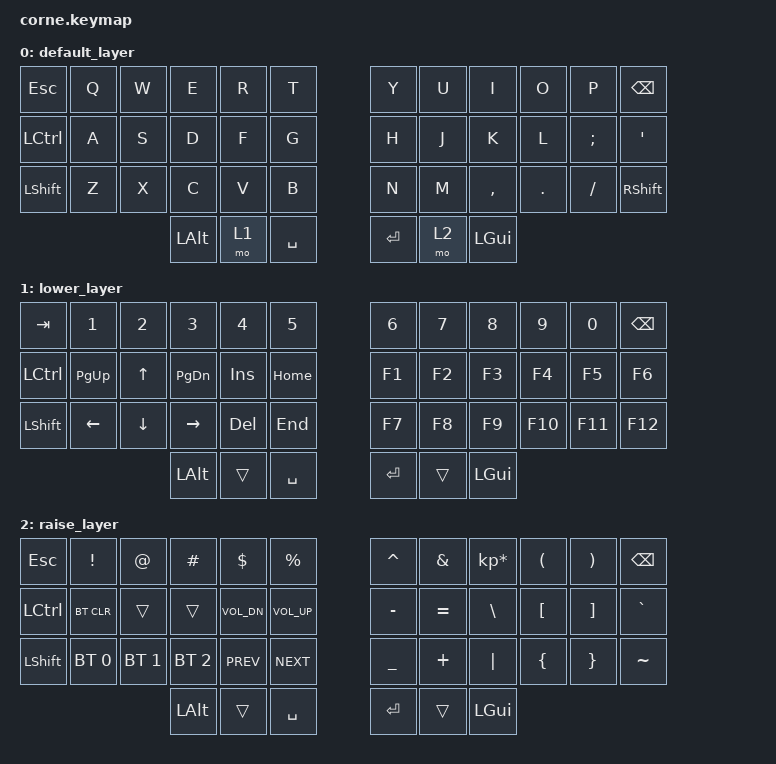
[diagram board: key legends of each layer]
/*
 * Copyright (c) 2020 The ZMK Contributors
 *
 * SPDX-License-Identifier: MIT
 */

#include <behaviors.dtsi>
#include <dt-bindings/zmk/keys.h>
#include <dt-bindings/zmk/bt.h>

/ {
        keymap {
                compatible = "zmk,keymap";

                default_layer {
// -----------------------------------------------------------------------------------------
// |  ESC |  Q  |  W  |  E  |  R  |  T  |   |  Y  |  U   |  I  |  O  |  P  | BKSP |
// | CTRL |  A  |  S  |  D  |  F  |  G  |   |  H  |  J   |  K  |  L  |  ;  |  '   |
// | SHFT |  Z  |  X  |  C  |  V  |  B  |   |  N  |  M   |  ,  |  .  |  /  | SHFT |
//                    | ALT | LWR | SPC |   | ENT | RSE  | GUI |
                        bindings = <
   &kp ESC   &kp Q &kp W &kp E &kp R &kp T   &kp Y &kp U  &kp I     &kp O   &kp P    &kp BSPC
   &kp LCTRL &kp A &kp S &kp D &kp F &kp G   &kp H &kp J  &kp K     &kp L   &kp SEMI &kp SQT
   &kp LSHFT &kp Z &kp X &kp C &kp V &kp B   &kp N &kp M  &kp COMMA &kp DOT &kp FSLH &kp RSHFT
                  &kp LALT &mo 1 &kp SPACE   &kp RET &mo 2 &kp LGUI
                        >;
                };
                lower_layer {
// -----------------------------------------------------------------------------------------
// |  TAB |  1  |  2  |  3  |  4  |  5  |   |  6  |  7  |  8  |  9  |  0  | BKSP |
// | CTRL |     | UP  | BT3 | INS | HOM |   | F1  | F2  | F3  | F4  | F5  | F6   |
// | SHFT | LFT | DWN | RGT | DEL | END |   | F7  | F8  | F9  | F10 | F11 | F12  |
//                    | ALT |     | SPC |   | ENT |     | GUI |
                        bindings = <
   &kp TAB    &kp N1    &kp N2    &kp N3      &kp N4       &kp N5            &kp N6   &kp N7   &kp N8 &kp N9    &kp N0  &kp BSPC
   &kp LCTRL  &kp PG_UP &kp UP    &kp PG_DN   &kp INS      &kp HOME          &kp F1   &kp F2   &kp F3 &kp F4    &kp F5  &kp F6
   &kp LSHFT  &kp LEFT  &kp DOWN  &kp RIGHT   &kp DEL      &kp END           &kp F7   &kp F8   &kp F9 &kp F10   &kp F11 &kp F12
                                        &kp LALT     &trans       &kp SPACE         &kp RET &trans &kp LGUI
                        >;
                };

                raise_layer {
// -----------------------------------------------------------------------------------------
// |  ESC |  !  |  @  |  #  |  $  |  %  |   |  ^  |  &  |  *  |  (  |  )  | BKSP |
// | CTRL |BTCLR|     |     | VOL-| VOL+|   |  -  |  =  | "\" |  [  |  ]  |   `  |
// | SHFT | BT1 | BT2 | BT3 | PREV| NEXT|   |  _  |  +  |  |  |  {  |  }  |   ~  | // TODO: Fix this row when &mkp is committed
//                    | ALT |     | SPC |   | ENT |     | GUI |
                        bindings = <
   &kp ESC   &kp EXCL      &kp AT        &kp HASH     &kp DLLR     &kp PRCNT     &kp CARET &kp AMPS  &kp KP_MULTIPLY &kp LPAR  &kp RPAR  &kp BSPC
   &kp LCTRL &bt BT_CLR    &trans        &trans       &kp C_VOL_DN &kp C_VOL_UP  &kp MINUS &kp EQUAL &kp BSLH        &kp LBKT  &kp RBKT  &kp GRAVE
   &kp LSHFT &bt BT_SEL 0  &bt BT_SEL 1  &bt BT_SEL 2 &kp C_PREV   &kp C_NEXT        &kp UNDER &kp PLUS  &kp PIPE        &kp LBRC  &kp RBRC  &kp TILDE
                                         &kp LALT     &trans       &kp SPACE     &kp RET   &trans &kp LGUI
                        >;
                };
        };
};
